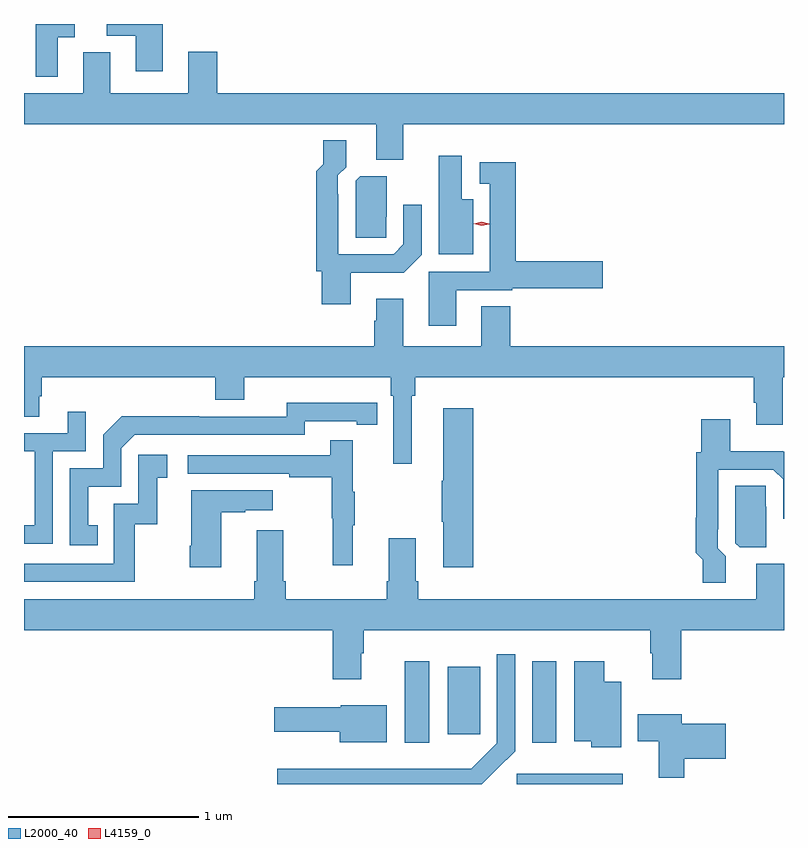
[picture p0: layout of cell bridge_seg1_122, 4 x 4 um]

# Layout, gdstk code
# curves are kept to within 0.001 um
import gdstk
lib = gdstk.Library(unit=1e-6, precision=1e-09)
def R(c, l, rs):  # rectangles x0, y0, x1, y1
    for r in rs: c.add(gdstk.rectangle(r[:2], r[2:], *l))
def P(c, l, *ps):  # polygons
    for p in ps: c.add(gdstk.Polygon(p, *l))
L2000_40 = (2000, 40)
L4159_0 = (4159, 0)

bridge_seg1_122 = lib.new_cell('bridge_seg1_122')
R(bridge_seg1_122, L2000_40, [(289.38,570.904,289.936,570.958), (288.791,571.122,288.919,571.549), (289.46,571.122,289.588,571.549), (289.016,571.166,289.186,571.522)])
P(bridge_seg1_122, L2000_40, [(287.515,574.904),(287.222,574.904),(287.222,574.841),(287.375,574.841),(287.375,574.656),(287.515,574.656)],
  [(286.963,574.834),(287.053,574.834),(287.053,574.904),(286.847,574.904),(286.847,574.626),(286.963,574.626)],
  [(288.781,574.376),(290.786,574.376),(290.786,574.54),(287.804,574.54),(287.804,574.759),(287.651,574.759),(287.651,574.54),(287.239,574.54),(287.239,574.756),(287.099,574.756),(287.099,574.54),(286.786,574.54),(286.786,574.376),(288.641,574.376),(288.641,574.189),(288.781,574.189)],
  [(288.505,573.596),(288.785,573.596),(288.879,573.69),(288.879,573.952),(288.783,573.952),(288.783,573.744),(288.732,573.693),(288.441,573.693),(288.441,574.007),(288.438,574.007),(288.438,574.107),(288.481,574.15),(288.481,574.291),(288.361,574.291),(288.361,574.167),(288.323,574.128),(288.323,573.946),(288.325,573.946),(288.325,573.603),(288.353,573.603),(288.353,573.429),(288.505,573.429)],
  [(289.15,573.982),(289.09,573.982),(289.09,574.21),(288.968,574.21),(288.968,573.692),(289.15,573.692)],
  [(289.06,573.504),(289.356,573.504),(289.356,573.514),(289.831,573.514),(289.831,573.656),(289.373,573.656),(289.373,574.177),(289.185,574.177),(289.185,574.064),(289.238,574.064),(289.238,573.6),(288.917,573.6),(288.917,573.315),(289.06,573.315)],
  [(288.693,573.889),(288.694,573.889),(288.694,574.104),(288.555,574.104),(288.531,574.08),(288.531,573.778),(288.693,573.778)],
  [(288.826,572.948),(288.845,572.948),(288.845,573.044),(290.627,573.044),(290.627,572.911),(290.639,572.911),(290.639,572.796),(290.779,572.796),(290.779,573.044),(290.786,573.044),(290.786,573.208),(289.346,573.208),(289.346,573.419),(289.193,573.419),(289.193,573.208),(288.781,573.208),(288.781,573.457),(288.641,573.457),(288.641,573.341),(288.629,573.341),(288.629,573.208),(286.786,573.208),(286.786,572.836),(286.867,572.836),(286.867,572.946),(286.88,572.946),(286.88,573.044),(287.792,573.044),(287.792,572.927),(287.944,572.927),(287.944,573.044),(288.716,573.044),(288.716,572.948),(288.729,572.948),(288.729,572.589),(288.826,572.589)],
  [(287.174,572.265),(287.125,572.265),(287.125,572.469),(287.298,572.469),(287.298,572.67),(287.37,572.742),(288.264,572.742),(288.264,572.814),(288.536,572.814),(288.536,572.794),(288.644,572.794),(288.644,572.91),(288.168,572.911),(288.168,572.838),(287.708,572.838),(287.708,572.84),(287.3,572.84),(287.202,572.742),(287.202,572.565),(287.028,572.565),(287.028,572.16),(287.174,572.16)],
  [(289.151,572.881),(288.992,572.881),(288.992,572.501),(288.985,572.501),(288.985,572.284),(288.992,572.284),(288.992,572.046),(289.151,572.046)],
  [(286.938,572.655),(287.112,572.655),(287.112,572.863),(287.015,572.863),(287.015,572.751),(286.786,572.751),(286.786,572.655),(286.842,572.655),(286.842,572.266),(286.786,572.266),(286.786,572.169),(286.938,572.169)],
  [(290.479,572.102),(290.436,572.145),(290.436,572.245),(290.439,572.245),(290.439,572.559),(290.73,572.559),(290.781,572.508),(290.781,572.301),(290.786,572.301),(290.786,572.653),(290.783,572.656),(290.503,572.656),(290.503,572.824),(290.351,572.824),(290.351,572.649),(290.323,572.649),(290.323,572.306),(290.321,572.306),(290.321,572.122),(290.359,572.084),(290.359,571.962),(290.479,571.962)],
  [(288.515,572.267),(288.526,572.267),(288.526,572.441),(288.515,572.441),(288.515,572.713),(288.397,572.713),(288.397,572.634),(287.649,572.634),(287.649,572.538),(288.181,572.538),(288.181,572.518),(288.405,572.518),(288.405,572.304),(288.412,572.304),(288.412,572.055),(288.515,572.055)],
  [(287.368,572.271),(287.486,572.271),(287.486,572.517),(287.539,572.517),(287.539,572.638),(287.388,572.638),(287.388,572.379),(287.259,572.379),(287.259,572.064),(286.786,572.064),(286.786,571.968),(287.368,571.968)],
  [(290.692,572.363),(290.691,572.363),(290.691,572.474),(290.529,572.474),(290.529,572.172),(290.553,572.149),(290.692,572.149)],
  [(287.824,572.335),(287.951,572.335),(287.951,572.345),(288.094,572.345),(288.094,572.449),(287.666,572.449),(287.666,572.158),(287.659,572.158),(287.659,572.046),(287.824,572.046)],
  [(288.562,571.592),(288.575,571.592),(288.575,571.712),(290.081,571.712),(290.081,571.592),(290.093,571.592),(290.093,571.455),(290.246,571.455),(290.246,571.712),(290.786,571.712),(290.786,572.064),(290.639,572.064),(290.639,571.876),(288.86,571.876),(288.86,571.972),(288.847,571.972),(288.847,572.197),(288.707,572.197),(288.707,571.972),(288.695,571.972),(288.695,571.876),(288.164,571.876),(288.164,571.972),(288.151,571.972),(288.151,572.239),(288.011,572.239),(288.011,571.972),(287.999,571.972),(287.999,571.876),(286.786,571.876),(286.786,571.712),(288.41,571.712),(288.41,571.455),(288.562,571.455)],
  [(289.276,570.983),(289.371,571.077),(289.371,571.588),(289.275,571.588),(289.275,571.119),(289.141,570.985),(288.12,570.985),(288.12,570.904),(289.196,570.904)],
  [(289.93,571.441),(289.84,571.441),(289.84,571.549),(289.682,571.549),(289.682,571.13),(289.772,571.13),(289.772,571.097),(289.93,571.097)],
  [(288.694,571.318),(288.453,571.318),(288.453,571.308),(288.102,571.308),(288.102,571.178),(288.449,571.178),(288.449,571.124),(288.694,571.124)],
  [(290.261,571.037),(290.479,571.037),(290.479,571.22),(290.248,571.22),(290.248,571.27),(290.015,571.27),(290.015,571.13),(290.126,571.13),(290.126,570.937),(290.261,570.937)])
P(bridge_seg1_122, L4159_0, [(289.194,573.842),(289.154,573.853),(289.154,573.853),(289.154,573.854),(289.195,573.862),(289.235,573.852),(289.235,573.851),(289.235,573.851)])

lib.write_gds('bridge_seg1_122.gds')
